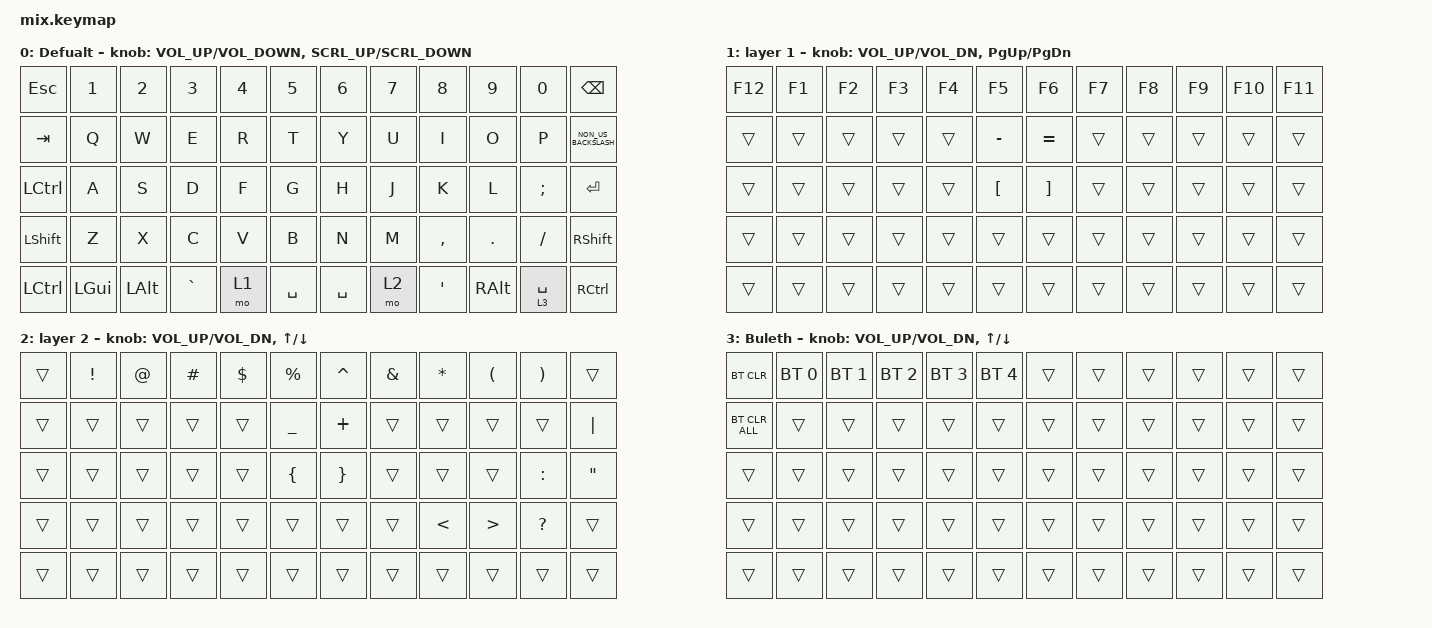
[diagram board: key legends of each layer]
/*
 * Copyright (c) 2020 The ZMK Contributors
 *
 * SPDX-License-Identifier: MIT
 */

#include <behaviors.dtsi>
#include <dt-bindings/zmk/bt.h>
#include <dt-bindings/zmk/keys.h>
#include <dt-bindings/zmk/pointing.h>

#define ZMK_POINTING_DEFAULT_SCRL_VAL 40

/ {
    combos {
        compatible = "zmk,combos";

        boot {
            bindings = <&bootloader>;
            key-positions = <0 11 54 53>;
        };
    };

    behaviors {
        encoder_sc: encoder_sc {
            compatible = "zmk,behavior-sensor-rotate-var";
            label = "ENCODER_SC";
            #sensor-binding-cells = <2>;
            bindings = <&msc>, <&msc>;

            tap-ms = <40>;
        };
    };

    keymap {
        compatible = "zmk,keymap";

        LAYER0 {
            display-name = "Defualt";
            bindings = <
&kp ESCAPE  &kp N1        &kp N2        &kp N3     &kp NUMBER_4  &kp N5     &kp NUMBER_6  &kp N7  &kp N8     &kp N9         &kp N0         &kp BSPC
&kp TAB     &kp Q         &kp W         &kp E      &kp R         &kp T      &kp Y         &kp U   &kp I      &kp O          &kp P          &kp NON_US_BACKSLASH
&kp LCTRL   &kp A         &kp S         &kp D      &kp F         &kp G      &kp H         &kp J   &kp K      &kp L          &kp SEMICOLON  &kp ENTER
&kp LSHFT   &kp Z         &kp X         &kp C      &kp V         &kp B      &kp N         &kp M   &kp COMMA  &kp DOT        &kp FSLH       &kp RSHFT
&kp LCTRL   &kp LEFT_GUI  &kp LEFT_ALT  &kp GRAVE  &mo 1         &kp SPACE  &kp SPACE     &mo 2   &kp SQT    &kp RIGHT_ALT  &lt 3 SPACE    &kp RCTRL
            >;

            sensor-bindings =
                <&inc_dec_kp C_VOLUME_UP C_VOLUME_DOWN>,
                <&encoder_sc SCRL_UP SCRL_DOWN>;
        };

        LAYER1 {
            display-name = "layer 1";
            bindings = <
&kp F12  &kp F1  &kp F2  &kp F3  &kp F4  &kp F5            &kp F6             &kp F7  &kp F8  &kp F9  &kp F10  &kp F11
&trans   &trans  &trans  &trans  &trans  &kp MINUS         &kp EQUAL          &trans  &trans  &trans  &trans   &trans
&trans   &trans  &trans  &trans  &trans  &kp LEFT_BRACKET  &kp RIGHT_BRACKET  &trans  &trans  &trans  &trans   &trans
&trans   &trans  &trans  &trans  &trans  &trans            &trans             &trans  &trans  &trans  &trans   &trans
&trans   &trans  &trans  &trans  &trans  &trans            &trans             &trans  &trans  &trans  &trans   &trans
            >;

            sensor-bindings = <&inc_dec_kp C_VOL_UP C_VOL_DN &inc_dec_kp PG_UP PG_DN>;
        };

        LAYER2 {
            display-name = "layer 2";
            bindings = <
&trans  &kp EXCLAMATION  &kp AT_SIGN  &kp HASH  &kp DOLLAR  &kp PERCENT     &kp CARET        &kp AMPERSAND  &kp ASTERISK   &kp LEFT_PARENTHESIS  &kp RIGHT_PARENTHESIS  &trans
&trans  &trans           &trans       &trans    &trans      &kp UNDERSCORE  &kp PLUS         &trans         &trans         &trans                &trans                 &kp PIPE
&trans  &trans           &trans       &trans    &trans      &kp LEFT_BRACE  &kp RIGHT_BRACE  &trans         &trans         &trans                &kp COLON              &kp DOUBLE_QUOTES
&trans  &trans           &trans       &trans    &trans      &trans          &trans           &trans         &kp LESS_THAN  &kp GREATER_THAN      &kp QUESTION           &trans
&trans  &trans           &trans       &trans    &trans      &trans          &trans           &trans         &trans         &trans                &trans                 &trans
            >;

            sensor-bindings =
                <&inc_dec_kp C_VOL_UP C_VOL_DN>,
                <&inc_dec_kp UP_ARROW DOWN>;
        };

        LAYER3 {
            display-name = "Buleth";
            bindings = <
&bt BT_CLR      &bt BT_SEL 0  &bt BT_SEL 1  &bt BT_SEL 2  &bt BT_SEL 3  &bt BT_SEL 4  &trans  &trans  &trans  &trans  &trans  &trans
&bt BT_CLR_ALL  &trans        &trans        &trans        &trans        &trans        &trans  &trans  &trans  &trans  &trans  &trans
&trans          &trans        &trans        &trans        &trans        &trans        &trans  &trans  &trans  &trans  &trans  &trans
&trans          &trans        &trans        &trans        &trans        &trans        &trans  &trans  &trans  &trans  &trans  &trans
&trans          &trans        &trans        &trans        &trans        &trans        &trans  &trans  &trans  &trans  &trans  &trans
            >;

            sensor-bindings =
                <&inc_dec_kp C_VOL_UP C_VOL_DN>,
                <&inc_dec_kp UP_ARROW DOWN_ARROW>;
        };
    };
};
